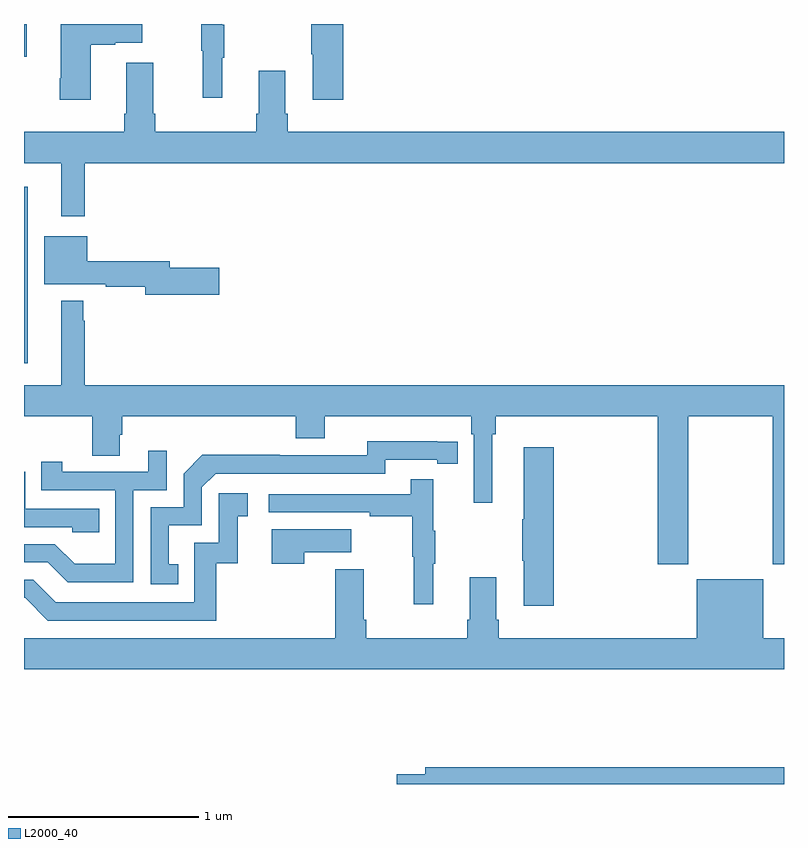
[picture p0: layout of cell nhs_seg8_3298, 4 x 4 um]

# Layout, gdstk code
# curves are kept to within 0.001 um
import gdstk
lib = gdstk.Library(unit=1e-6, precision=1e-09)
def R(c, l, rs):  # rectangles x0, y0, x1, y1
    for r in rs: c.add(gdstk.rectangle(r[:2], r[2:], *l))
def P(c, l, *ps):  # polygons
    for p in ps: c.add(gdstk.Polygon(p, *l))
L2000_40 = (2000, 40)

nhs_seg8_3298 = lib.new_cell('nhs_seg8_3298')
R(nhs_seg8_3298, L2000_40, [(315,1114.115,315.019,1115.044), (315,1115.727,315.014,1115.9)])
P(nhs_seg8_3298, L2000_40, [(316.043,1115.723),(316.054,1115.723),(316.054,1115.897),(316.043,1115.897),(316.043,1115.9),(315.933,1115.9),(315.933,1115.76),(315.94,1115.76),(315.94,1115.511),(316.043,1115.511)],
  [(315.352,1115.791),(315.479,1115.791),(315.479,1115.801),(315.622,1115.801),(315.622,1115.9),(315.194,1115.9),(315.194,1115.614),(315.187,1115.614),(315.187,1115.502),(315.352,1115.502)],
  [(316.679,1115.9),(316.513,1115.9),(316.513,1115.74),(316.52,1115.74),(316.52,1115.502),(316.679,1115.502)],
  [(315.319,1115.168),(319,1115.168),(319,1115.332),(316.388,1115.332),(316.388,1115.428),(316.375,1115.428),(316.375,1115.653),(316.235,1115.653),(316.235,1115.428),(316.223,1115.428),(316.223,1115.332),(315.692,1115.332),(315.692,1115.428),(315.679,1115.428),(315.679,1115.695),(315.539,1115.695),(315.539,1115.428),(315.527,1115.428),(315.527,1115.332),(315,1115.332),(315,1115.168),(315.197,1115.168),(315.197,1114.887),(315.319,1114.887)],
  [(316.027,1114.616),(315.766,1114.616),(315.766,1114.652),(315.334,1114.652),(315.334,1114.783),(315.107,1114.783),(315.107,1114.529),(315.43,1114.529),(315.43,1114.516),(315.638,1114.516),(315.638,1114.474),(316.027,1114.474)],
  [(318.495,1113.836),(318.94,1113.836),(318.94,1113.057),(319,1113.057),(319,1114),(315.319,1114),(315.319,1114.337),(315.312,1114.337),(315.312,1114.444),(315.197,1114.444),(315.197,1114),(315,1114),(315,1113.836),(315.358,1113.836),(315.358,1113.628),(315.505,1113.628),(315.505,1113.738),(315.518,1113.738),(315.518,1113.836),(316.43,1113.836),(316.43,1113.719),(316.582,1113.719),(316.582,1113.836),(317.354,1113.836),(317.354,1113.74),(317.367,1113.74),(317.367,1113.381),(317.464,1113.381),(317.464,1113.74),(317.483,1113.74),(317.483,1113.836),(318.335,1113.836),(318.335,1113.057),(318.495,1113.057)],
  [(315.812,1113.057),(315.763,1113.057),(315.763,1113.261),(315.936,1113.261),(315.936,1113.462),(316.008,1113.534),(316.902,1113.534),(316.902,1113.606),(317.174,1113.606),(317.174,1113.586),(317.282,1113.586),(317.282,1113.702),(316.806,1113.703),(316.806,1113.63),(316.346,1113.63),(316.346,1113.632),(315.938,1113.632),(315.84,1113.534),(315.84,1113.357),(315.666,1113.357),(315.666,1112.952),(315.812,1112.952)],
  [(317.789,1113.673),(317.63,1113.673),(317.63,1113.293),(317.623,1113.293),(317.623,1113.076),(317.63,1113.076),(317.63,1112.838),(317.789,1112.838)],
  [(315.576,1113.447),(315.75,1113.447),(315.75,1113.655),(315.653,1113.655),(315.653,1113.543),(315.202,1113.543),(315.202,1113.595),(315.091,1113.595),(315.091,1113.447),(315.48,1113.447),(315.48,1113.058),(315.266,1113.058),(315.162,1113.162),(315,1113.162),(315,1113.066),(315.125,1113.066),(315.23,1112.961),(315.576,1112.961)],
  [(315.395,1113.348),(315.006,1113.348),(315.006,1113.543),(315,1113.543),(315,1113.252),(315.255,1113.252),(315.255,1113.225),(315.395,1113.225)],
  [(317.153,1113.059),(317.164,1113.059),(317.164,1113.233),(317.153,1113.233),(317.153,1113.505),(317.035,1113.505),(317.035,1113.426),(316.287,1113.426),(316.287,1113.33),(316.819,1113.33),(316.819,1113.31),(317.043,1113.31),(317.043,1113.096),(317.05,1113.096),(317.05,1112.847),(317.153,1112.847)],
  [(316.013,1113.063),(316.124,1113.063),(316.124,1113.309),(316.177,1113.309),(316.177,1113.43),(316.026,1113.43),(316.026,1113.171),(315.897,1113.171),(315.897,1112.856),(315.168,1112.856),(315.048,1112.976),(315,1112.976),(315,1112.88),(315.006,1112.88),(315.126,1112.76),(316.013,1112.76)],
  [(316.475,1113.119),(316.723,1113.119),(316.723,1113.241),(316.304,1113.241),(316.304,1113.06),(316.475,1113.06)],
  [(319,1112.668),(318.892,1112.668),(318.892,1112.977),(318.542,1112.977),(318.542,1112.668),(317.498,1112.668),(317.498,1112.764),(317.485,1112.764),(317.485,1112.989),(317.345,1112.989),(317.345,1112.764),(317.333,1112.764),(317.333,1112.668),(316.802,1112.668),(316.802,1112.764),(316.789,1112.764),(316.789,1113.031),(316.637,1113.031),(316.637,1112.668),(315,1112.668),(315,1112.504),(319,1112.504)],
  [(319,1111.988),(317.111,1111.988),(317.111,1111.952),(316.962,1111.952),(316.962,1111.9),(319,1111.9)])

lib.write_gds('nhs_seg8_3298.gds')
